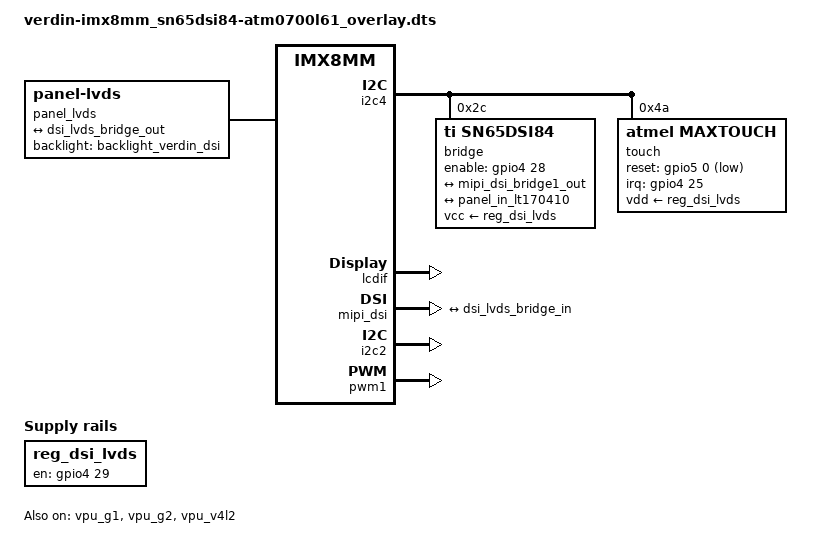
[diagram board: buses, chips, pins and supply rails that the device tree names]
// SPDX-License-Identifier: Apache-2
/*
 * Copyright 2020-2021 Opentrons
 */

// Verdin DSI to LVDS Adapter with connected ATM0700L61-CT display (7 inch) with a
// resolution of 1024x600 pixel. Semicustom from AZ Displays.

/dts-v1/;
/plugin/;

/ {
    compatible = "toradex,verdin-imx8mm";
};

#include <dt-bindings/gpio/gpio.h>
#include <dt-bindings/pwm/pwm.h>
#include <dt-bindings/interrupt-controller/irq.h>
#include "verdin-imx8mm_backlight-dsi_overlay.dtsi"
#include "display-lt170410-dsi-lvds_overlay.dtsi"

&{/} {
	reg_dsi_lvds: regulator-dsi-lvds {
		compatible = "regulator-fixed";
		enable-active-high;
		/* Verdin CTRL_SLEEP_MOCI# (SODIMM 256) */
		gpio = <&gpio4 29 GPIO_ACTIVE_HIGH>;
		regulator-boot-on;
		regulator-name = "DSI_1_PWR_EN";
	};
    panel_lvds: panel-lvds {
		compatible = "panel-lvds";
		data-mapping = "vesa-24";
		height-mm = <86>;
		width-mm = <154>;
		status = "okay";
		backlight = <&backlight_verdin_dsi>;

		port {
			panel_in_lt170410: endpoint {
				remote-endpoint = <&dsi_lvds_bridge_out>;
			};
		};

		panel-timing {
			clock-frequency = <51200000>;
			hactive = <1024 1024 1024>;
			hfront-porch = <16 160 216>;
			hback-porch = <160 160 160>;
			hsync-len = <1 70 140>;
			vactive = <600 600 600>;
			vfront-porch = <1 12 127>;
			vback-porch = <23 23 23>;
			vsync-len = <1 10 20>;
			de-active = <1>;
			pixelclk-active = <0>;
		};
	};
};

&backlight_verdin_dsi {
	pinctrl-names = "default";
	pinctrl-0 = <&pinctrl_i2s_2_d_out_dsi_1_bkl_en>;
	/* Verdin I2S_2_D_OUT (DSI_1_BKL_EN/DSI_1_BKL_EN_LVDS, SODIMM 46) */
	enable-gpios = <&gpio5 1 GPIO_ACTIVE_HIGH>;
	pwms = <&pwm3 0 6666667 PWM_POLARITY_INVERTED>;
};

/* Verdin I2C_1 */
&i2c4 {
	#address-cells = <1>;
	#size-cells = <0>;
	status = "okay";

	bridge@2c {
		compatible = "ti,sn65dsi84";
		reg = <0x2c>;
		pinctrl-names = "default";
		pinctrl-0 = <&pinctrl_gpio_10_dsi>;
		/* Verdin GPIO_9_DSI (SN65DSI84 IRQ, SODIMM 17, unused) */
		/* Verdin GPIO_10_DSI (SODIMM 21) */
		enable-gpios = <&gpio4 28 GPIO_ACTIVE_HIGH>;
		vcc-supply = <&reg_dsi_lvds>;
		status = "okay";

		ports {
			#address-cells = <1>;
			#size-cells = <0>;

			port@0 {
				reg = <0>;

				dsi_lvds_bridge_in: endpoint {
					data-lanes = <1 2 3 4>;
					remote-endpoint = <&mipi_dsi_bridge1_out>;
				};
			};

			port@2 {
				reg = <2>;

				dsi_lvds_bridge_out: endpoint {
					remote-endpoint = <&panel_in_lt170410>;
				};
			};
		};
	};

	touch@4a {
		compatible = "atmel,maxtouch";
		reg = <0x4a>;
		/*
		 * Verdin GPIO_9_DSI
		 * (TOUCH_INT#, SODIMM 17, also routed to SN65DSI84 IRQ albeit currently unused)
		 */
		interrupt-parent = <&gpio4>;
		interrupts = <25 IRQ_TYPE_EDGE_FALLING>;
		pinctrl-names = "default";
		pinctrl-0 = <&pinctrl_gpio_9_dsi>, <&pinctrl_i2s_2_bclk_touch_reset>;
		/* Verdin I2S_2_BCLK (TOUCH_RESET#, SODIMM 42) */
		reset-gpios = <&gpio5 0 GPIO_ACTIVE_LOW>;
		vdd-supply = <&reg_dsi_lvds>;
		status = "okay";
	};
};

/* LCDIF to MIPI-DSI */
&lcdif {
	status = "okay";
};


&mipi_dsi {
	#address-cells = <1>;
	#size-cells = <0>;
	status = "okay";

	port@1 {
		mipi_dsi_bridge1_out: endpoint {
			attach-bridge;
			remote-endpoint = <&dsi_lvds_bridge_in>;
		};
	};
};

&vpu_g1 {
	status = "okay";
};

&vpu_g2 {
	status = "okay";
};


&vpu_v4l2 {
	status = "okay";
};


/* Verdin I2C_2_DSI */
&i2c2 {
	status = "okay";
};

/* Verdin PWM_3_DSI */
&pwm1 {
	status = "okay";
};

